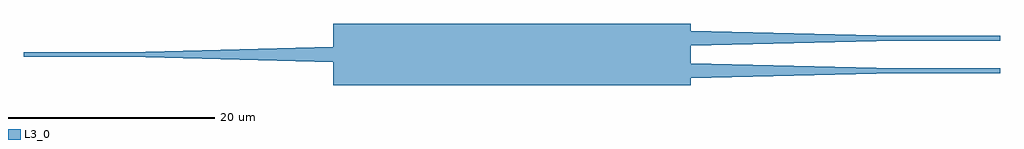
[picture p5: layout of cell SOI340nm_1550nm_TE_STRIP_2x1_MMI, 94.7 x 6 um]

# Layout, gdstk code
import gdstk
lib = gdstk.Library(unit=1e-6, precision=1e-09)
def R(c, l, rs):  # rectangles x0, y0, x1, y1
    for r in rs: c.add(gdstk.rectangle(r[:2], r[2:], *l))
def P(c, l, *ps):  # polygons
    for p in ps: c.add(gdstk.Polygon(p, *l))
L3_0 = (3, 0)

soi340nm_1550nm_te_strip = lib.new_cell('SOI340nm_1550nm_TE_STRIP_2x1_MMI')
R(soi340nm_1550nm_te_strip, L3_0, [(-17.35,-3,17.35,3), (37.35,-1.8,47.35,-1.35), (-47.35,-0.225,-37.35,0.225), (37.35,1.35,47.35,1.8)])
P(soi340nm_1550nm_te_strip, L3_0, [(-17.35,-0.75),(-37.35,-0.225),(-37.35,0.225),(-17.35,0.75)],
  [(17.35,0.825),(17.35,2.325),(37.35,1.8),(37.35,1.35)],
  [(17.35,-2.325),(17.35,-0.825),(37.35,-1.35),(37.35,-1.8)])

lib.write_gds('SOI340nm_1550nm_TE_STRIP_2x1_MMI.gds')
